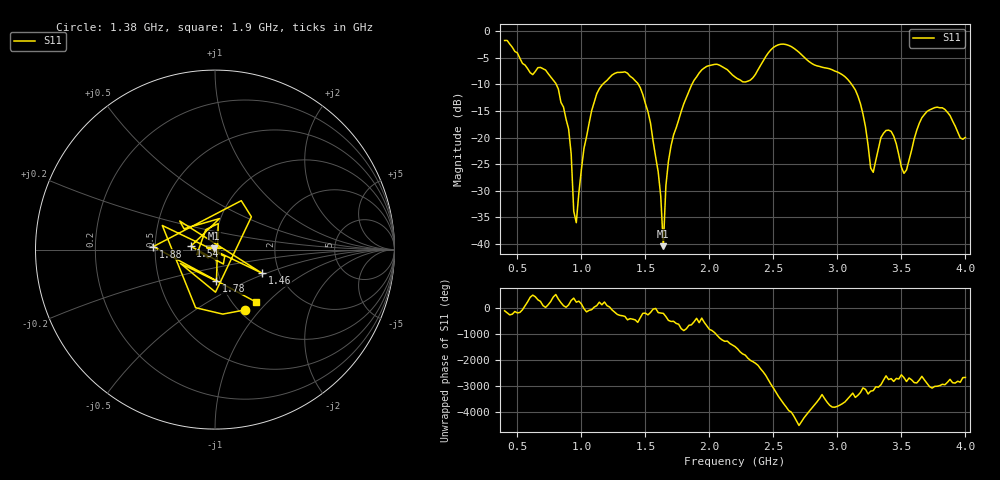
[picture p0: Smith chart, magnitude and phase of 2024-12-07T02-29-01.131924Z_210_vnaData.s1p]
!Created with skrf (http://scikit-rf.org).
# Hz S RI R 50.0
!freq ReS11 ImS11
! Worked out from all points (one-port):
!   181 points, 400 MHz to 4 GHz, reference 50 ohm
!   lowest |S11| = -40.4 dB at 1.64 GHz (marker M1), VSWR 1.02, Z = 49.3 + j0.628 ohm
!   |S11| at or under -10 dB: 803.1 MHz to 1.167 GHz (363.9 MHz wide, 36.9 % of centre); 1.444 GHz to 1.864 GHz (419.8 MHz wide, 25.4 % of centre); 3.111 GHz to end of sweep
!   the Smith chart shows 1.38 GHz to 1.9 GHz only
!   S11 on the Smith chart (normalised r, x): 1.38 GHz: 1.07, -0.84; 1.46 GHz: 1.63, -0.47; 1.54 GHz: 0.76, +0.03; 1.78 GHz: 0.96, -0.35; 1.88 GHz: 0.49, +0.02; 1.9 GHz: 1.27, -0.86
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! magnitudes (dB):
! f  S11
! 400 MHz  -1.8
! 860 MHz  -14.3
! 900 MHz  -18.4
! 940 MHz  -33.8
! 960 MHz  -36.0
! 1.02 GHz  -22.0
! 1.08 GHz  -15.0
! 1.3 GHz  -7.8
! 1.38 GHz  -8.5
! 1.46 GHz  -10.7
! 1.54 GHz  -17.3
! 1.62 GHz  -31.1
! 1.64 GHz  -40.4
! 1.68 GHz  -24.5
! 1.76 GHz  -16.7
! 1.78 GHz  -15.1
! 1.88 GHz  -9.3
! 1.9 GHz  -8.6
! 2.2 GHz  -8.6
! 2.66 GHz  -3.2
! 3.1 GHz  -9.6
! 3.18 GHz  -13.6
! 3.28 GHz  -26.5
! 3.38 GHz  -18.7
! 3.52 GHz  -26.7
! 3.56 GHz  -24.2
! 3.76 GHz  -14.4
! 4 GHz  -20.0
